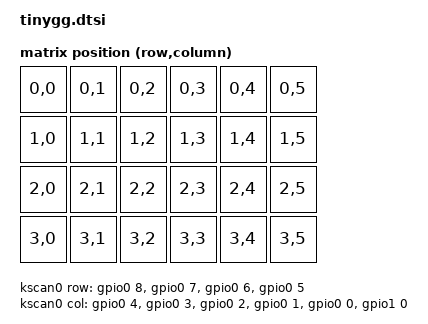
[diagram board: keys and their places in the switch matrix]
#include <dt-bindings/zmk/matrix_transform.h>

/ {
    chosen {
        zmk,kscan = &kscan0;
        zmk,matrix-transform = &default_transform;
        zephyr,display = &oled;
    };

    default_transform: keymap_transform_0 {
        compatible = "zmk,matrix-transform";
        columns = <6>;
        rows = <4>;
        map = <
            RC(0,0) RC(0,1) RC(0,2) RC(0,3) RC(0,4) RC(0,5)
            RC(1,0) RC(1,1) RC(1,2) RC(1,3) RC(1,4) RC(1,5)
            RC(2,0) RC(2,1) RC(2,2) RC(2,3) RC(2,4) RC(2,5)
            RC(3,0) RC(3,1) RC(3,2) RC(3,3) RC(3,4) RC(3,5)
        >;
    };

    kscan0: kscan {
        compatible = "zmk,kscan-gpio-matrix";
        diode-direction = "col2row";
        wakeup-source;

        row-gpios
            = <&gpio0 8 (GPIO_ACTIVE_HIGH | GPIO_PULL_DOWN)>
            , <&gpio0 7 (GPIO_ACTIVE_HIGH | GPIO_PULL_DOWN)>
            , <&gpio0 6 (GPIO_ACTIVE_HIGH | GPIO_PULL_DOWN)>
            , <&gpio0 5 (GPIO_ACTIVE_HIGH | GPIO_PULL_DOWN)>
            ;

        col-gpios
            = <&gpio0 4 (GPIO_ACTIVE_HIGH | GPIO_PULL_DOWN)>
            , <&gpio0 3 (GPIO_ACTIVE_HIGH | GPIO_PULL_DOWN)>
            , <&gpio0 2 (GPIO_ACTIVE_HIGH | GPIO_PULL_DOWN)>
            , <&gpio0 1 (GPIO_ACTIVE_HIGH | GPIO_PULL_DOWN)>
            , <&gpio0 0 (GPIO_ACTIVE_HIGH | GPIO_PULL_DOWN)>
            , <&gpio1 0 (GPIO_ACTIVE_HIGH | GPIO_PULL_DOWN)>
            ;
    };

    &pro_micro_i2c {
        status = "okay";

        oled: ssd1306@3c {
            compatible = "solomon,ssd1306fb";
            reg = <0x3c>;
            width = <128>;
            height = <32>;
            segment-offset = <0>;
            page-offset = <0>;
            display-offset = <0>;
            multiplex-ratio = <31>;
            segment-remap;
            com-invdir;
            com-sequential;
            inversion-on;
            prechargep = <0x22>;
        };
    };
};
